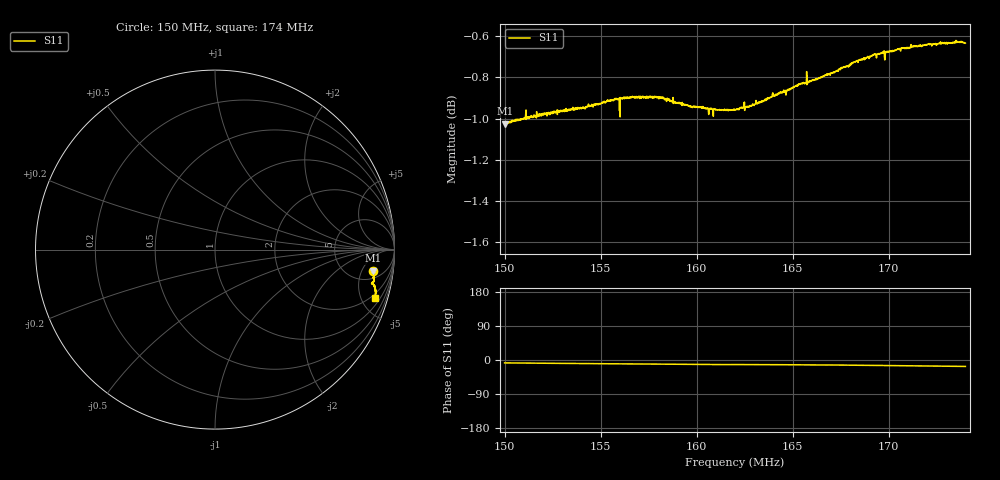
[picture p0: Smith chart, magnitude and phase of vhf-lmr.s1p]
! Calibrated averaged scanner-service zoom
# Hz S RI R 50
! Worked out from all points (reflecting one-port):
!   2001 points, 150 MHz to 174 MHz, reference 50 ohm
!   lowest |S11| = -1.0 dB at 150 MHz (marker M1), VSWR 16.97, Z = 376 - j420 ohm
!   phase of S11 starts at -8 deg and turns -9 deg over the sweep
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1.5e8  0.8815 -0.1173
1.50024e8  0.8809 -0.1175
1.51212e8  0.8824 -0.1261
1.53e8  0.8842 -0.1396
1.54272e8  0.885 -0.1478
1.55724e8  0.8872 -0.1577
1.56e8  0.8876 -0.157
1.56096e8  0.8869 -0.1608
1.56144e8  0.8866 -0.1614
1.56636e8  0.8868 -0.1648
1.57836e8  0.8851 -0.1741
1.58568e8  0.8826 -0.1793
1.59e8  0.8805 -0.1813
1.60752e8  0.8763 -0.1865
1.60956e8  0.8763 -0.1873
1.62e8  0.8758 -0.1881
1.63548e8  0.8801 -0.1915
1.64364e8  0.8832 -0.1943
1.65e8  0.8848 -0.198
1.6668e8  0.889 -0.2083
1.66932e8  0.89 -0.2083
1.68e8  0.8922 -0.217
1.69224e8  0.8952 -0.2272
1.69704e8  0.8956 -0.2317
1.71e8  0.8944 -0.2439
1.72704e8  0.8934 -0.2599
1.73616e8  0.8907 -0.268
1.74e8  0.8892 -0.2715
